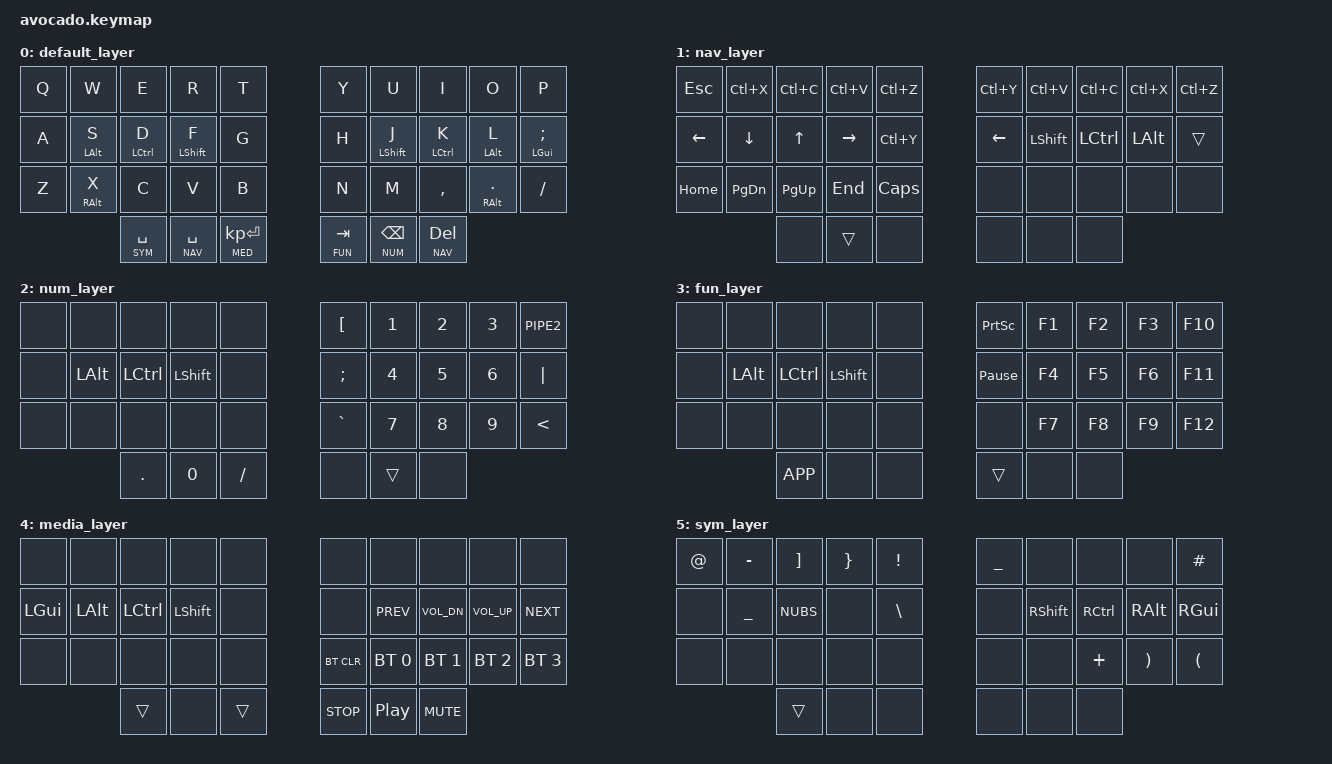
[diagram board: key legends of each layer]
#include <behaviors.dtsi>
#include <dt-bindings/zmk/keys.h>
#include <dt-bindings/zmk/bt.h>

// The default keymap is roughly on Miryoku layout
// (https://github.com/manna-harbour/miryoku).
// Customize on your own on the config folder.

#define BASE    0
#define NAV     1
#define NUM     2
#define FUN     3
#define MED     4
#define SYM     5

/ {
    behaviors {
        hm: homerow_mods {
            compatible = "zmk,behavior-hold-tap";
            label = "HOMEROW_MODS";
            #binding-cells = <2>;
            tapping-term-ms = <200>;
            quick-tap-ms = <0>;
            flavor = "tap-preferred";
            bindings = <&kp>, <&kp>;
        };
    };

    keymap {
        compatible = "zmk,keymap";

        default_layer {
            bindings = <
    &kp Q   &kp W       &kp E       &kp R       &kp T                                   &kp Y           &kp U           &kp I       &kp O           &kp P
    &kp A   &hm LALT S  &hm LCTRL D &hm LSHFT F &kp G                                   &kp H           &hm LSHFT J     &hm LCTRL K &hm LALT L      &hm LGUI SEMI
    &kp Z   &hm RALT X  &kp C       &kp V       &kp B                                   &kp N           &kp M           &kp COMMA   &hm RALT DOT    &kp FSLH
                                &lt SYM SPACE   &lt NAV SPACE  &lt MED KP_ENTER         &lt FUN TAB     &lt NUM BSPC    &lt NAV DEL
            >;
        };

        nav_layer {
            bindings = <
    &kp ESC     &kp LC(X)       &kp LC(C)       &kp LC(V)       &kp LC(Z)                        &kp LC(Y)   &kp LC(V)   &kp LC(C)   &kp LC(X)   &kp LC(Z)
    &kp LEFT    &kp DOWN        &kp UP          &kp RIGHT       &kp LC(Y)                        &kp LEFT    &kp LSHFT   &kp LCTRL   &kp LALT    &trans
    &kp HOME    &kp PG_DN       &kp PG_UP       &kp END         &kp CAPS                         &none       &none       &none       &none       &none
                                                &none           &trans      &none           &none       &none       &none     
            >;
        };

        num_layer {
            bindings = <
    &none       &none      &none      &none      &none                       &kp LBKT    &kp N1       &kp N2      &kp N3       &kp PIPE2
    &none       &kp LALT   &kp LCTRL  &kp LSHFT  &none                       &kp SEMI    &kp N4       &kp N5      &kp N6       &kp PIPE
    &none       &none      &none      &none      &none                       &kp GRAVE   &kp N7       &kp N8       &kp N9      &kp LT
                            &kp DOT   &kp N0     &kp FSLH           &none    &trans      &none
            >;
        };

        fun_layer {
            bindings = <
    &none   &none      &none      &none          &none                           &kp PSCRN         &kp F1      &kp F2      &kp F3      &kp F10
    &none   &kp LALT   &kp LCTRL  &kp LSHFT      &none                           &kp PAUSE_BREAK   &kp F4      &kp F5      &kp F6      &kp F11
    &none   &none      &none      &none          &none                           &none             &kp F7      &kp F8      &kp F9      &kp F12
                                  &kp K_APP      &none    &none          &trans  &none   &none
            >;
        };

        media_layer {
            bindings = <
    &none       &none       &none       &none       &none                            &none            &none         &none         &none           &none
    &kp LGUI    &kp LALT    &kp LCTRL   &kp LSHFT   &none                            &none            &kp C_PREV    &kp C_VOL_DN  &kp C_VOL_UP    &kp C_NEXT
    &none       &none       &none       &none       &none                            &bt BT_CLR       &bt BT_SEL 0  &bt BT_SEL 1  &bt BT_SEL 2    &bt BT_SEL 3     
                                        &trans      &none   &trans       &kp C_STOP  &kp C_PP         &kp C_MUTE     
            >;
        };

        sym_layer {
            bindings = <
    &kp AT      &kp MINUS   &kp RBKT    &kp RBRC   &kp EXCL                     &kp UNDER   &none       &none              &none       &kp HASH
    &none       &kp UNDER   &kp NUBS    &none      &kp BSLH                     &none       &kp RSHFT   &kp RCTRL          &kp RALT    &kp RGUI
    &none       &none       &none       &none      &none                        &none       &none       &kp PLUS        &kp RPAR    &kp LPAR
                                        &trans     &none    &none        &none  &none       &none
            >;
        };

    };
};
